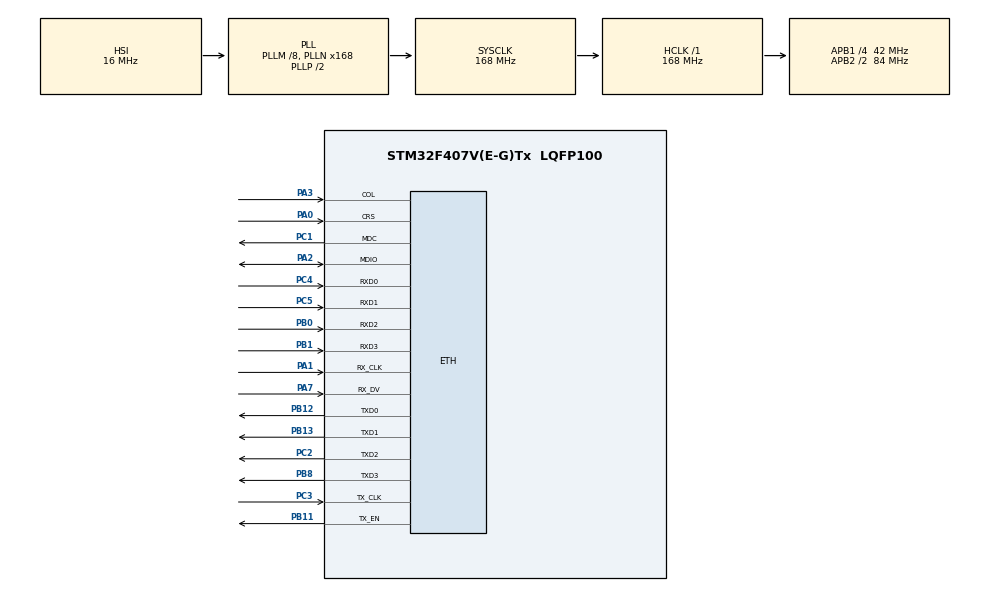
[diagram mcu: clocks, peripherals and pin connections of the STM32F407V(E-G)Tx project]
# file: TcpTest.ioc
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ETH.MediaInterface=ETH_MEDIA_INTERFACE_MII
ETH.PhyAddress=0
FREERTOS.Tasks01=defaultTask,0,1024,StartDefaultTask,Default,NULL,Dynamic,NULL,NULL
FREERTOS.configTOTAL_HEAP_SIZE=50000
LWIP.IP_ADDRESS=169.254.123.123
LWIP.LWIP_DHCP=0
LWIP.NETMASK_ADDRESS=255.255.255.000
LWIP.Version=v2.0.3_Cube
Mcu.Family=STM32F4
Mcu.Name=STM32F407V(E-G)Tx
Mcu.Package=LQFP100
NVIC.ETH_IRQn=true\:5\:0\:false\:false\:true\:true\:true\:true
NVIC.ETH_WKUP_IRQn=true\:5\:0\:false\:false\:true\:true\:true\:true
NVIC.PriorityGroup=NVIC_PRIORITYGROUP_4
NVIC.TIM1_UP_TIM10_IRQn=true\:0\:0\:false\:false\:true\:false\:false\:true
NVIC.TimeBase=TIM1_UP_TIM10_IRQn
NVIC.TimeBaseIP=TIM1
PA0-WKUP.Mode=MII
PA0-WKUP.Signal=ETH_CRS
PA1.Mode=MII
PA1.Signal=ETH_RX_CLK
PA2.Mode=MII
PA2.Signal=ETH_MDIO
PA3.Mode=MII
PA3.Signal=ETH_COL
PA7.Mode=MII
PA7.Signal=ETH_RX_DV
PB0.Mode=MII
PB0.Signal=ETH_RXD2
PB1.Mode=MII
PB1.Signal=ETH_RXD3
PB11.Mode=MII
PB11.Signal=ETH_TX_EN
PB12.Mode=MII
PB12.Signal=ETH_TXD0
PB13.Mode=MII
PB13.Signal=ETH_TXD1
PB8.Mode=MII
PB8.Signal=ETH_TXD3
PC1.Mode=MII
PC1.Signal=ETH_MDC
PC2.Mode=MII
PC2.Signal=ETH_TXD2
PC3.Mode=MII
PC3.Signal=ETH_TX_CLK
PC4.Mode=MII
PC4.Signal=ETH_RXD0
PC5.Mode=MII
PC5.Signal=ETH_RXD1
PH0-OSC_IN.Mode=HSE-External-Oscillator
PH0-OSC_IN.Signal=RCC_OSC_IN
PH1-OSC_OUT.Mode=HSE-External-Oscillator
PH1-OSC_OUT.Signal=RCC_OSC_OUT
ProjectManager.HeapSize=0x200
ProjectManager.StackSize=0x400
ProjectManager.TargetToolchain=STM32CubeIDE
RCC.48MHZClocksFreq_Value=84000000
RCC.AHBFreq_Value=168000000
RCC.APB1CLKDivider=RCC_HCLK_DIV4
RCC.APB1Freq_Value=42000000
RCC.APB1TimFreq_Value=84000000
RCC.APB2CLKDivider=RCC_HCLK_DIV2
RCC.APB2Freq_Value=84000000
RCC.APB2TimFreq_Value=168000000
RCC.CortexFreq_Value=168000000
RCC.HCLKFreq_Value=168000000
RCC.HSE_VALUE=25000000
RCC.HSI_VALUE=16000000
RCC.LSE_VALUE=32768
RCC.PLLM=8
RCC.PLLN=168
RCC.SYSCLKFreq_VALUE=168000000
RCC.SYSCLKSource=RCC_SYSCLKSOURCE_PLLCLK
RCC.VCOOutputFreq_Value=336000000
VP_FREERTOS_VS_CMSIS_V1.Mode=CMSIS_V1
VP_LWIP_VS_Enabled.Mode=Enabled
VP_SYS_VS_tim1.Mode=TIM1
board=custom

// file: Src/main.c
/* USER CODE BEGIN Header */
/**
 ******************************************************************************
 * @file : main.c
 * @brief : Main program body
 ******************************************************************************
 * @attention
 *
 * <h2><center>&copy; Copyright (c) 2019 STMicroelectronics.
 * All rights reserved.</center></h2>
 *
 * This software component is licensed by ST under Ultimate Liberty license
 * SLA0044, the "License"; You may not use this file except in compliance with
 * the License. You may obtain a copy of the License at:
 * www.st.com/SLA0044
 *
 ******************************************************************************
 */
/* USER CODE END Header */

/* Includes —----------------------------------------------------------------*/
#include "main.h"
#include "cmsis_os.h"
#include "lwip.h"

/* Private includes —--------------------------------------------------------*/
/* USER CODE BEGIN Includes */

#include "string.h"
/* USER CODE END Includes */

/* Private typedef —---------------------------------------------------------*/
/* USER CODE BEGIN PTD */
#include "lwip/sockets.h"
/* USER CODE END PTD */

/* Private define —----------------------------------------------------------*/

/* Private macro —-----------------------------------------------------------*/

/* Private variables —-------------------------------------------------------*/
osThreadId defaultTaskHandle;
osThreadId handle1;
osThreadId handle2;

/* Private function prototypes —---------------------------------------------*/
void SystemClock_Config(void);
static void MX_GPIO_Init(void);
void StartDefaultTask(void const * argument);

/* USER CODE BEGIN PFP */
static void client_socket_thread1(void const * argument);

/* USER CODE END PFP */
static void client_socket_thread2(void const * argument);

/* Private user code —-------------------------------------------------------*/

int main(void) {

	/* MCU Configuration--------------------------------------------------------*/

	/* Reset of all peripherals, Initializes the Flash interface and the Systick. */
	HAL_Init();

	/* Configure the system clock */
	SystemClock_Config();

	/* Initialize all configured peripherals */
	MX_GPIO_Init();

	/* Create the thread(s) */
	/* definition and creation of defaultTask */
	osThreadDef(defaultTask, StartDefaultTask, osPriorityNormal, 0, 1024);
	defaultTaskHandle = osThreadCreate(osThread(defaultTask), NULL);

	/* Start scheduler */
	osKernelStart();

	/* We should never get here as control is now taken by the scheduler */

	/* Infinite loop */
	while (1) {

	}
}

void SystemClock_Config(void) {
	RCC_OscInitTypeDef RCC_OscInitStruct = { 0 };
	RCC_ClkInitTypeDef RCC_ClkInitStruct = { 0 };

	/** Configure the

	 main internal regulator output voltage
	 */
	__HAL_RCC_PWR_CLK_ENABLE()
	;
	__HAL_PWR_VOLTAGESCALING_CONFIG(PWR_REGULATOR_VOLTAGE_SCALE1);
	/** Initializes the CPU, AHB and APB busses clocks
	 */
	RCC_OscInitStruct.OscillatorType = RCC_OSCILLATORTYPE_HSI;
	RCC_OscInitStruct.HSIState = RCC_HSI_ON;
	RCC_OscInitStruct.HSICalibrationValue = RCC_HSICALIBRATION_DEFAULT;
	RCC_OscInitStruct.PLL.PLLState = RCC_PLL_ON;
	RCC_OscInitStruct.PLL.PLLSource = RCC_PLLSOURCE_HSI;
	RCC_OscInitStruct.PLL.PLLM = 8;
	RCC_OscInitStruct.PLL.PLLN = 168;
	RCC_OscInitStruct.PLL.PLLP = RCC_PLLP_DIV2;
	RCC_OscInitStruct.PLL.PLLQ = 4;
	if (HAL_RCC_OscConfig(&RCC_OscInitStruct) != HAL_OK) {
		Error_Handler();
	}
	/** Initializes the CPU, AHB and APB busses clocks
	 */
	RCC_ClkInitStruct.ClockType = RCC_CLOCKTYPE_HCLK | RCC_CLOCKTYPE_SYSCLK
			| RCC_CLOCKTYPE_PCLK1 | RCC_CLOCKTYPE_PCLK2;
	RCC_ClkInitStruct.SYSCLKSource = RCC_SYSCLKSOURCE_PLLCLK;
	RCC_ClkInitStruct.AHBCLKDivider = RCC_SYSCLK_DIV1;
	RCC_ClkInitStruct.APB1CLKDivider = RCC_HCLK_DIV4;
	RCC_ClkInitStruct.APB2CLKDivider = RCC_HCLK_DIV2;

	if (HAL_RCC_ClockConfig(&RCC_ClkInitStruct, FLASH_LATENCY_5) != HAL_OK) {
		Error_Handler();
	}
}

static void MX_GPIO_Init(void) {

	/* GPIO Ports Clock Enable */
	__HAL_RCC_GPIOH_CLK_ENABLE()
	;
	__HAL_RCC_GPIOC_CLK_ENABLE()
	;
	__HAL_RCC_GPIOA_CLK_ENABLE()
	;
	__HAL_RCC_GPIOB_CLK_ENABLE()
	;

}

/* USER CODE BEGIN 4 */
typedef struct struct_client_socket_t {
  struct sockaddr_in remotehost;
  socklen_t sockaddrsize;
  int accept_sock;
} struct_client_socket;
struct_client_socket client_socket01,client_socket02;
static void client_socket_thread1(void const * argument) {

	static char data[566];
	char data1[4];
	data1[0]='f';
	data1[1]='u';
	data1[2]='c';
	data1[3]='k';
	int a;

	while (1)
	{
		a=recv( client_socket01.accept_sock,data, sizeof(data), 0);
		sendto(client_socket01.accept_sock,data1,sizeof(data1),0,(struct sockaddr *)&client_socket01.remotehost, client_socket01.sockaddrsize);
		if(a==0)
		{
			close(client_socket01.accept_sock);
			memset(&client_socket01, 0 , sizeof(client_socket01));
			osThreadTerminate(handle1);
			osThreadYield();
		}
	}
}

static void client_socket_thread2(void const * argument) {
static 	char data[566];
	char data1[4];
	data1[0]='f';
	data1[1]='u';
	data1[2]='c';
	data1[3]='k';
	int a;
	while (1)
	{
		a=recv( client_socket02.accept_sock,data, sizeof(data), 0);
		sendto(client_socket02.accept_sock,data1,sizeof(data1),0,(struct sockaddr *)&client_socket02.remotehost, client_socket02.sockaddrsize);
		if(a==0)
		{
			close(client_socket02.accept_sock);
			memset(&client_socket02, 0 , sizeof(client_socket02));
			osThreadTerminate(handle2);
			osThreadYield();
		}
	}
}
/* USER CODE END 4 */

/* USER CODE BEGIN Header_StartDefaultTask */
/**
 * @brief Function implementing the

 defaultTask thread.
 * @param argument: Not used
 * @retval None
 */
/* USER CODE END Header_StartDefaultTask */
void StartDefaultTask(void const * argument) {

	/* init code for LWIP */
	MX_LWIP_Init();

	/* USER CODE BEGIN 5 */
	int sock, accept_sock;
	socklen_t sockaddrsize;
	struct sockaddr_in address, remotehost;
	if ((sock = socket(AF_INET,SOCK_STREAM, 0)) >= 0)
	{
		address.sin_family = AF_INET;
		address.sin_addr.s_addr = INADDR_ANY;
		address.sin_port = htons(80);
		if (bind(sock, (struct sockaddr *)&address, sizeof (address)) ==  0)
		{
			listen(sock, 2);
			for(;;)
			{
				accept_sock = accept(sock, (struct sockaddr *)&remotehost, (socklen_t *)&sockaddrsize);

				/* Infinite loop */
				if(accept_sock == 1 )
				{
					client_socket01.accept_sock = accept_sock;
					client_socket01.remotehost = remotehost;
	        	 	 client_socket01.sockaddrsize = sockaddrsize;
	        	 	 handle1 = sys_thread_new("client_socket_thread", (lwip_thread_fn)client_socket_thread1, (void*)&client_socket01, DEFAULT_THREAD_STACKSIZE, osPriorityNormal );
	        	 	 if (client_socket02.accept_sock == 2)
	        	 	 {
	        	 		 close(client_socket02.accept_sock);
	        	 		 memset(&client_socket02, 0 , sizeof(client_socket02));
	        	 		 osThreadTerminate(handle2);
	        	 	 }
				}
				if(accept_sock == 2 )
				{
					client_socket02.accept_sock = accept_sock;
					client_socket02.remotehost = remotehost;
					client_socket02.sockaddrsize = sockaddrsize;
					handle2 = 	 sys_thread_new("client_socket_thread", (lwip_thread_fn)client_socket_thread2, (void*)&client_socket02, DEFAULT_THREAD_STACKSIZE, osPriorityNormal );
					if (client_socket01.accept_sock == 1)
					{
						close(client_socket01.accept_sock);
						memset(&client_socket01, 0 , sizeof(client_socket01));

						osThreadTerminate(handle1);
					}
				}
			}
		}
		else
		{
			close(sock);
			return;
		}
	}
	/* USER CODE END 5 */
}

void HAL_TIM_PeriodElapsedCallback(TIM_HandleTypeDef *htim) {
	if (htim->Instance == TIM1) {
		HAL_IncTick();
	}
}

void Error_Handler(void) {
}

/************************ (C) COPYRIGHT STMicroelectronics *****END OF FILE****/
